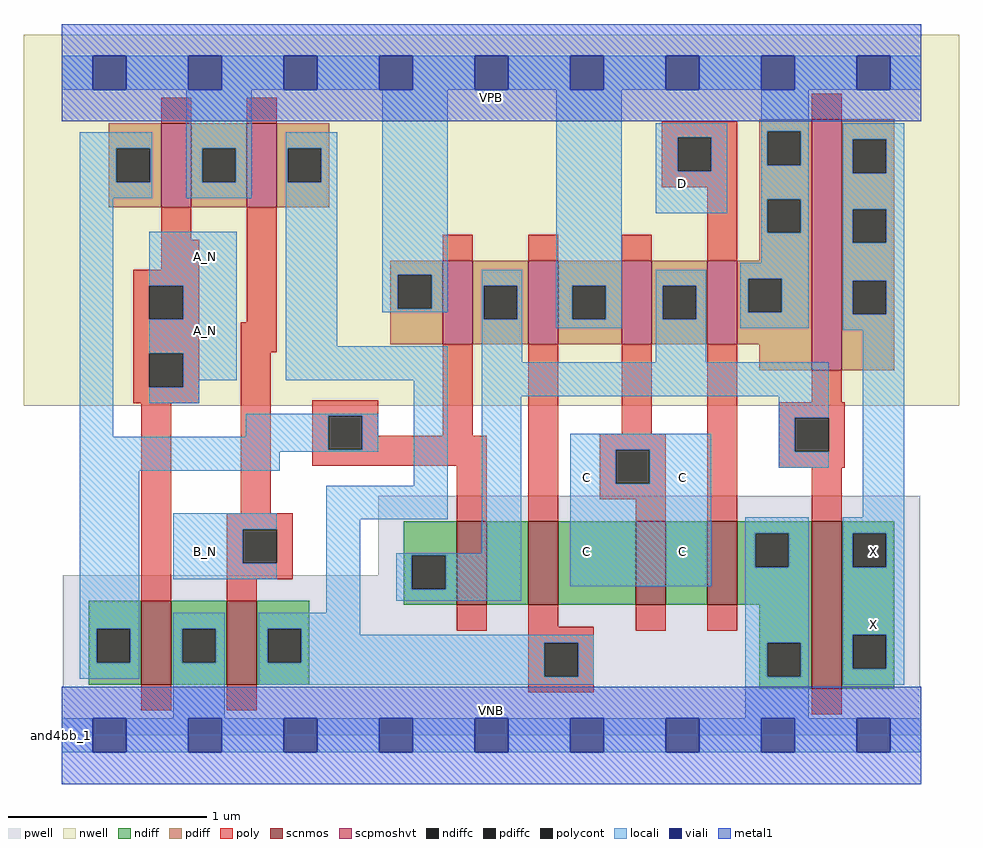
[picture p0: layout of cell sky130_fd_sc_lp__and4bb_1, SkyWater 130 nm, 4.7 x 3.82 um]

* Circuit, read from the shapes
.subckt sky130_fd_sc_lp__and4bb_1 A_N B_N C D VGND VNB VPB VPWR X
XM1 VGND A_N n1 VNB sky130_fd_pr__nfet_01v8 w=0.42 l=0.15
XM2 n2 B_N VGND VNB sky130_fd_pr__nfet_01v8 w=0.42 l=0.15
XM3 n3 n1 n4 VNB sky130_fd_pr__nfet_01v8 w=0.42 l=0.15
XM4 n5 n2 n3 VNB sky130_fd_pr__nfet_01v8 w=0.42 l=0.15
XM5 n6 C n5 VNB sky130_fd_pr__nfet_01v8 w=0.42 l=0.15
XM6 VGND D n6 VNB sky130_fd_pr__nfet_01v8 w=0.42 l=0.15
XM7 X n4 VGND VNB sky130_fd_pr__nfet_01v8 w=0.84 l=0.15
XM8 VPWR A_N n1 VPB sky130_fd_pr__pfet_01v8_hvt w=0.42 l=0.15
XM9 n2 B_N VPWR VPB sky130_fd_pr__pfet_01v8_hvt w=0.42 l=0.15
XM10 n4 n1 VPWR VPB sky130_fd_pr__pfet_01v8_hvt w=0.42 l=0.15
XM11 VPWR n2 n4 VPB sky130_fd_pr__pfet_01v8_hvt w=0.42 l=0.15
XM12 n4 C VPWR VPB sky130_fd_pr__pfet_01v8_hvt w=0.42 l=0.15
XM13 VPWR D n4 VPB sky130_fd_pr__pfet_01v8_hvt w=0.42 l=0.15
XM14 X n4 VPWR VPB sky130_fd_pr__pfet_01v8_hvt w=1.26 l=0.15
.ends

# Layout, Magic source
magic
tech sky130A
magscale 1 2
<< nwell >>
rect -38 331 902 704
<< pwell >>
rect 318 161 863 241
rect 1 49 863 161
rect 0 0 864 49
<< scnmos >>
rect 80 51 110 135
rect 166 51 196 135
rect 397 131 427 215
rect 469 131 499 215
rect 577 131 607 215
rect 649 131 679 215
rect 754 47 784 215
<< scpmoshvt >>
rect 100 531 130 615
rect 186 531 216 615
rect 383 393 413 477
rect 469 393 499 477
rect 563 393 593 477
rect 649 393 679 477
rect 754 367 784 619
<< ndiff >>
rect 344 181 397 215
rect 344 147 352 181
rect 386 147 397 181
rect 27 107 80 135
rect 27 73 35 107
rect 69 73 80 107
rect 27 51 80 73
rect 110 107 166 135
rect 110 73 121 107
rect 155 73 166 107
rect 110 51 166 73
rect 196 107 249 135
rect 344 131 397 147
rect 427 131 469 215
rect 499 131 577 215
rect 607 131 649 215
rect 679 203 754 215
rect 679 169 697 203
rect 731 169 754 203
rect 679 131 754 169
rect 196 73 207 107
rect 241 73 249 107
rect 196 51 249 73
rect 701 93 754 131
rect 701 59 709 93
rect 743 59 754 93
rect 701 47 754 59
rect 784 203 837 215
rect 784 169 795 203
rect 829 169 837 203
rect 784 101 837 169
rect 784 67 795 101
rect 829 67 837 101
rect 784 47 837 67
<< pdiff >>
rect 47 590 100 615
rect 47 556 55 590
rect 89 556 100 590
rect 47 531 100 556
rect 130 590 186 615
rect 130 556 141 590
rect 175 556 186 590
rect 130 531 186 556
rect 216 590 269 615
rect 216 556 227 590
rect 261 556 269 590
rect 216 531 269 556
rect 701 607 754 619
rect 701 573 709 607
rect 743 573 754 607
rect 701 539 754 573
rect 701 505 709 539
rect 743 505 754 539
rect 701 477 754 505
rect 330 463 383 477
rect 330 429 338 463
rect 372 429 383 463
rect 330 393 383 429
rect 413 452 469 477
rect 413 418 424 452
rect 458 418 469 452
rect 413 393 469 418
rect 499 452 563 477
rect 499 418 513 452
rect 547 418 563 452
rect 499 393 563 418
rect 593 452 649 477
rect 593 418 604 452
rect 638 418 649 452
rect 593 393 649 418
rect 679 459 754 477
rect 679 425 690 459
rect 724 425 754 459
rect 679 393 754 425
rect 701 367 754 393
rect 784 599 837 619
rect 784 565 795 599
rect 829 565 837 599
rect 784 529 837 565
rect 784 495 795 529
rect 829 495 837 529
rect 784 457 837 495
rect 784 423 795 457
rect 829 423 837 457
rect 784 367 837 423
<< ndiffc >>
rect 352 147 386 181
rect 35 73 69 107
rect 121 73 155 107
rect 697 169 731 203
rect 207 73 241 107
rect 709 59 743 93
rect 795 169 829 203
rect 795 67 829 101
<< pdiffc >>
rect 55 556 89 590
rect 141 556 175 590
rect 227 556 261 590
rect 709 573 743 607
rect 709 505 743 539
rect 338 429 372 463
rect 424 418 458 452
rect 513 418 547 452
rect 604 418 638 452
rect 690 425 724 459
rect 795 565 829 599
rect 795 495 829 529
rect 795 423 829 457
<< poly >>
rect 100 615 130 641
rect 186 615 216 641
rect 754 619 784 645
rect 603 601 679 617
rect 603 567 619 601
rect 653 567 679 601
rect 603 551 679 567
rect 100 498 130 531
rect 100 468 138 498
rect 72 452 138 468
rect 72 418 88 452
rect 122 418 138 452
rect 72 384 138 418
rect 186 415 216 531
rect 383 477 413 503
rect 469 477 499 503
rect 563 477 593 503
rect 649 477 679 551
rect 72 350 88 384
rect 122 350 138 384
rect 72 334 138 350
rect 180 385 216 415
rect 80 135 110 334
rect 180 223 210 385
rect 252 321 318 337
rect 252 287 268 321
rect 302 301 318 321
rect 383 301 413 393
rect 302 287 427 301
rect 252 271 427 287
rect 166 207 232 223
rect 397 215 427 271
rect 469 215 499 393
rect 563 303 593 393
rect 541 287 607 303
rect 541 253 557 287
rect 591 253 607 287
rect 541 237 607 253
rect 577 215 607 237
rect 649 215 679 393
rect 754 335 784 367
rect 721 319 787 335
rect 721 285 737 319
rect 771 285 787 319
rect 721 269 787 285
rect 754 215 784 269
rect 166 173 182 207
rect 216 173 232 207
rect 166 157 232 173
rect 166 135 196 157
rect 397 105 427 131
rect 469 109 499 131
rect 469 93 535 109
rect 577 105 607 131
rect 649 105 679 131
rect 469 59 485 93
rect 519 59 535 93
rect 80 25 110 51
rect 166 25 196 51
rect 469 43 535 59
rect 754 21 784 47
<< polycont >>
rect 619 567 653 601
rect 88 418 122 452
rect 88 350 122 384
rect 268 287 302 321
rect 557 253 591 287
rect 737 285 771 319
rect 182 173 216 207
rect 485 59 519 93
<< locali >>
rect 0 649 31 683
rect 65 649 127 683
rect 161 649 223 683
rect 257 649 319 683
rect 353 649 415 683
rect 449 649 511 683
rect 545 649 607 683
rect 641 649 703 683
rect 737 649 799 683
rect 833 649 864 683
rect 18 590 91 606
rect 18 556 55 590
rect 89 556 91 590
rect 18 540 91 556
rect 125 590 191 649
rect 125 556 141 590
rect 175 556 191 590
rect 125 540 191 556
rect 225 590 277 606
rect 225 556 227 590
rect 261 556 277 590
rect 18 300 52 540
rect 88 452 176 506
rect 122 418 176 452
rect 88 384 176 418
rect 122 357 176 384
rect 225 391 277 556
rect 322 463 388 649
rect 322 429 338 463
rect 372 429 388 463
rect 322 425 388 429
rect 422 452 463 468
rect 422 418 424 452
rect 458 418 463 452
rect 225 357 388 391
rect 122 350 138 357
rect 88 334 138 350
rect 185 321 318 323
rect 185 300 268 321
rect 18 287 268 300
rect 302 287 318 321
rect 18 285 318 287
rect 18 266 219 285
rect 18 107 78 266
rect 354 251 388 357
rect 112 207 216 223
rect 112 173 182 207
rect 112 157 216 173
rect 266 217 388 251
rect 422 375 463 418
rect 497 452 563 649
rect 597 601 669 615
rect 597 567 619 601
rect 653 567 669 601
rect 597 525 669 567
rect 703 607 751 649
rect 703 573 709 607
rect 743 573 751 607
rect 703 539 751 573
rect 703 505 709 539
rect 743 505 751 539
rect 703 475 751 505
rect 497 418 513 452
rect 547 418 563 452
rect 497 409 563 418
rect 597 452 648 468
rect 597 418 604 452
rect 638 418 648 452
rect 597 375 648 418
rect 682 459 751 475
rect 682 425 690 459
rect 724 425 751 459
rect 682 409 751 425
rect 785 599 847 615
rect 785 565 795 599
rect 829 565 847 599
rect 785 529 847 565
rect 785 495 795 529
rect 829 495 847 529
rect 785 457 847 495
rect 785 423 795 457
rect 829 423 847 457
rect 785 407 847 423
rect 422 341 771 375
rect 266 123 300 217
rect 422 183 462 341
rect 721 319 771 341
rect 336 181 462 183
rect 336 147 352 181
rect 386 147 462 181
rect 511 287 653 303
rect 511 253 557 287
rect 591 253 653 287
rect 721 285 737 319
rect 721 269 771 285
rect 511 150 653 253
rect 805 219 847 407
rect 687 203 751 219
rect 687 169 697 203
rect 731 169 751 203
rect 336 135 462 147
rect 18 73 35 107
rect 69 73 78 107
rect 18 57 78 73
rect 112 107 164 123
rect 112 73 121 107
rect 155 73 164 107
rect 112 17 164 73
rect 198 107 300 123
rect 198 73 207 107
rect 241 101 300 107
rect 241 93 535 101
rect 241 73 485 93
rect 198 59 485 73
rect 519 59 535 93
rect 198 51 535 59
rect 687 93 751 169
rect 687 59 709 93
rect 743 59 751 93
rect 687 17 751 59
rect 785 203 847 219
rect 785 169 795 203
rect 829 169 847 203
rect 785 101 847 169
rect 785 67 795 101
rect 829 67 847 101
rect 785 51 847 67
rect 0 -17 31 17
rect 65 -17 127 17
rect 161 -17 223 17
rect 257 -17 319 17
rect 353 -17 415 17
rect 449 -17 511 17
rect 545 -17 607 17
rect 641 -17 703 17
rect 737 -17 799 17
rect 833 -17 864 17
<< viali >>
rect 31 649 65 683
rect 127 649 161 683
rect 223 649 257 683
rect 319 649 353 683
rect 415 649 449 683
rect 511 649 545 683
rect 607 649 641 683
rect 703 649 737 683
rect 799 649 833 683
rect 31 -17 65 17
rect 127 -17 161 17
rect 223 -17 257 17
rect 319 -17 353 17
rect 415 -17 449 17
rect 511 -17 545 17
rect 607 -17 641 17
rect 703 -17 737 17
rect 799 -17 833 17
<< metal1 >>
rect 0 683 864 715
rect 0 649 31 683
rect 65 649 127 683
rect 161 649 223 683
rect 257 649 319 683
rect 353 649 415 683
rect 449 649 511 683
rect 545 649 607 683
rect 641 649 703 683
rect 737 649 799 683
rect 833 649 864 683
rect 0 617 864 649
rect 0 17 864 49
rect 0 -17 31 17
rect 65 -17 127 17
rect 161 -17 223 17
rect 257 -17 319 17
rect 353 -17 415 17
rect 449 -17 511 17
rect 545 -17 607 17
rect 641 -17 703 17
rect 737 -17 799 17
rect 833 -17 864 17
rect 0 -49 864 -17
<< labels >>
flabel pwell s 0 0 864 49 0 FreeSans 200 0 0 0 VNB
port 6 nsew ground bidirectional
flabel nwell s 0 617 864 666 0 FreeSans 200 0 0 0 VPB
port 7 nsew power bidirectional
rlabel comment s 0 0 0 0 4 and4bb_1
flabel metal1 s 0 617 864 666 0 FreeSans 340 0 0 0 VPWR
port 8 nsew power bidirectional
flabel metal1 s 0 0 864 49 0 FreeSans 340 0 0 0 VGND
port 5 nsew ground bidirectional
flabel locali s 511 168 545 202 0 FreeSans 340 0 0 0 C
port 3 nsew signal input
flabel locali s 511 242 545 276 0 FreeSans 340 0 0 0 C
port 3 nsew signal input
flabel locali s 607 168 641 202 0 FreeSans 340 0 0 0 C
port 3 nsew signal input
flabel locali s 607 242 641 276 0 FreeSans 340 0 0 0 C
port 3 nsew signal input
flabel locali s 127 390 161 424 0 FreeSans 340 0 0 0 A_N
port 1 nsew signal input
flabel locali s 127 464 161 498 0 FreeSans 340 0 0 0 A_N
port 1 nsew signal input
flabel locali s 799 94 833 128 0 FreeSans 340 0 0 0 X
port 9 nsew signal output
flabel locali s 799 168 833 202 0 FreeSans 340 0 0 0 X
port 9 nsew signal output
flabel locali s 607 538 641 572 0 FreeSans 340 0 0 0 D
port 4 nsew signal input
flabel locali s 127 168 161 202 0 FreeSans 340 0 0 0 B_N
port 2 nsew signal input
<< properties >>
string LEFsite unit
string LEFclass CORE
string FIXED_BBOX 0 0 864 666
string GDS_FILE $PDKPATH/libs.ref/sky130_fd_sc_lp/gds/sky130_fd_sc_lp.gds
string LEFsymmetry X Y R90
string GDS_END 5234594
string GDS_START 5226482
<< end >>
